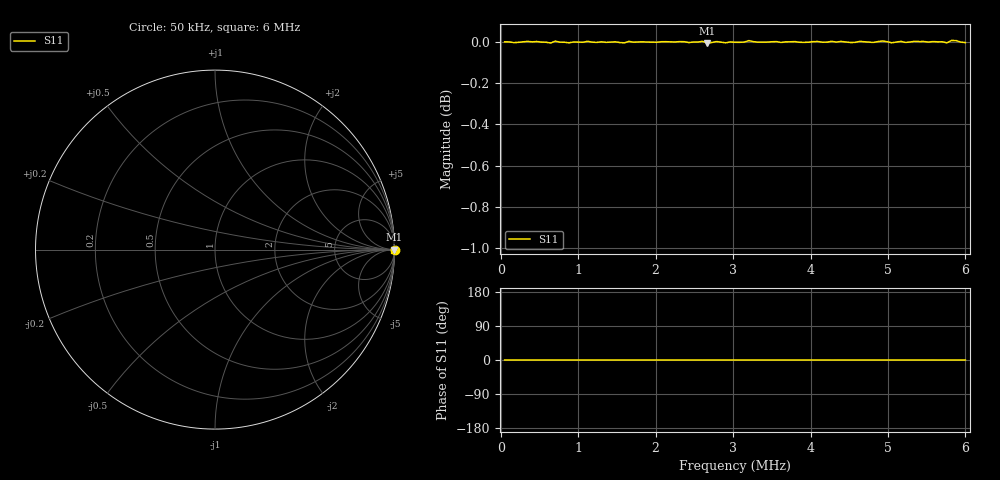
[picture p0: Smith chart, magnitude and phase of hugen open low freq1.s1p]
! File created by NanoVNA (https://gen111.taobao.com/)
! Start 50000Hz  Stop 6000000Hz  Points 101
# HZ S MA R 50
!S - Parameter data, F S11
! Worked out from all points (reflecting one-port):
!   101 points, 50 kHz to 6 MHz, reference 50 ohm
!   lowest |S11| = 0.0 dB at 2.668 MHz (marker M1)
!   phase of S11 starts at 0 deg and turns -0 deg over the sweep
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50000  1 0.0
466500  1 -0.0
645000  0.9995 0.0
704500  1.001 0.0
823500  0.9999 -0.0
1537500  0.9998 0.0
1775500  1 -0.0
2311000  1 0.0
2608500  1 -0.0
2668000  0.9994 0.0
2787000  1 0.0
2906000  0.9996 -0.0
3025000  0.9999 0.0
3144000  1 -0.0
3203500  1.001 -0.0
3322500  1 0.0
3798500  1 -0.0
4512500  0.9998 -0.0
4631500  1 -0.0
4810000  0.9998 0.0
4929000  1.001 -0.0
5048000  0.9996 0.0
5286000  1 -0.0
5583500  1 0.0
5643000  1 -0.0
5762000  0.9996 0.0
5821500  1.001 -0.0
6000000  0.9997 0.0
